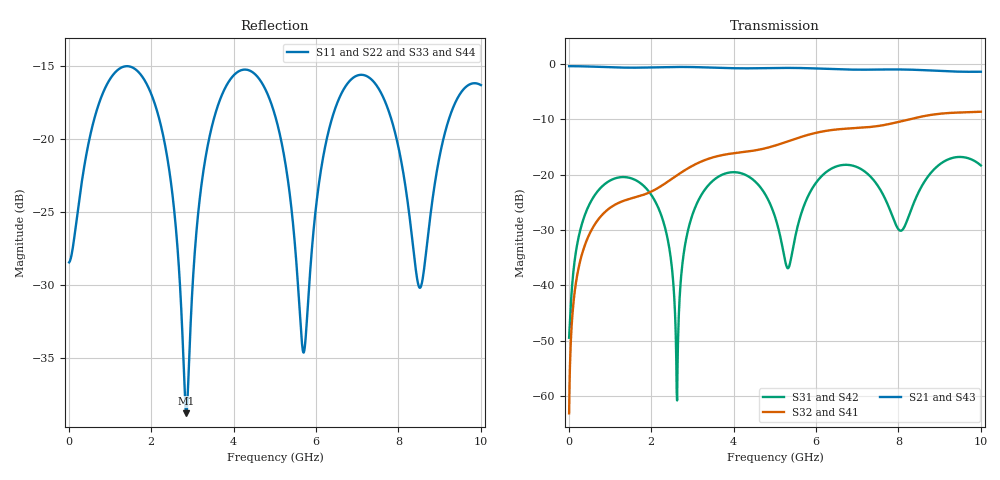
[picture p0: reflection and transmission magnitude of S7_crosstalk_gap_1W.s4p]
! kicad_em_sim: S-parameters of 4 ports, openEMS
# Hz S RI R 50
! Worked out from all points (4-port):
!   1000 points, 10 MHz to 10 GHz, reference 50 ohm
!   strongest paths, dB at 10 MHz, 2.51 GHz, 5.01 GHz, 7.51 GHz, 10 GHz:
!     S21: -0.4, -0.5, -0.7, -1.0, -1.4
!     S43: -0.4, -0.5, -0.7, -1.0, -1.4
!     S32: -63.1, -20.7, -14.7, -11.2, -8.6
!     S41: -63.1, -20.7, -14.7, -11.2, -8.6
!     S31: -49.5, -37.3, -27.7, -22.1, -18.3
!     S42: -49.5, -37.3, -27.7, -22.1, -18.3
!   lowest |S11| = -38.8 dB at 2.85 GHz (marker M1), VSWR 1.02, Z = 51.2 - j0.0592 ohm
!   |S11| at or under -10 dB: start of sweep to end of sweep
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1e7  -0.0378 0.0024  0.9593 -0.0111  0.00318 0.00111  0.000336 -0.000611
     0.9593 -0.0111  -0.0378 0.0024  0.000336 -0.000611  0.00318 0.00111
     0.00318 0.00111  0.000336 -0.000611  -0.0378 0.0024  0.9593 -0.0111
     0.000336 -0.000611  0.00318 0.00111  0.9593 -0.0111  -0.0378 0.0024
9e8  0.1081 0.1059  0.485 -0.8062  0.0746 0.0381  -0.0452 -0.0121
     0.485 -0.8062  0.1081 0.1059  -0.0452 -0.0121  0.0746 0.0381
     0.0746 0.0381  -0.0452 -0.0121  0.1081 0.1059  0.485 -0.8062
     -0.0452 -0.0121  0.0746 0.0381  0.485 -0.8062  0.1081 0.1059
2.62e9  0.0223 -0.0403  -0.9261 -0.1818  -0.000772 -0.000777  -0.0149 0.0973
        -0.9261 -0.1818  0.0223 -0.0403  -0.0149 0.0973  -0.000772 -0.000777
        -0.000772 -0.000777  -0.0149 0.0973  0.0223 -0.0403  -0.9261 -0.1818
        -0.0149 0.0973  -0.000772 -0.000777  -0.9261 -0.1818  0.0223 -0.0403
2.85e9  0.0115 -0.000578  -0.9412 0.0663  0.00544 0.0258  0.0113 0.1113
        -0.9412 0.0663  0.0115 -0.000578  0.0113 0.1113  0.00544 0.0258
        0.00544 0.0258  0.0113 0.1113  0.0115 -0.000578  -0.9412 0.0663
        0.0113 0.1113  0.00544 0.0258  -0.9412 0.0663  0.0115 -0.000578
5.44e9  0.0253 -0.0452  0.914 0.1426  -0.0125 0.0175  0.0291 -0.206
        0.914 0.1426  0.0253 -0.0452  0.0291 -0.206  -0.0125 0.0175
        -0.0125 0.0175  0.0291 -0.206  0.0253 -0.0452  0.914 0.1426
        0.0291 -0.206  -0.0125 0.0175  0.914 0.1426  0.0253 -0.0452
8.21e9  0.0359 -0.0518  -0.8814 -0.147  -0.0273 0.0272  -0.0506 0.3097
        -0.8814 -0.147  0.0359 -0.0518  -0.0506 0.3097  -0.0273 0.0272
        -0.0273 0.0272  -0.0506 0.3097  0.0359 -0.0518  -0.8814 -0.147
        -0.0506 0.3097  -0.0273 0.0272  -0.8814 -0.147  0.0359 -0.0518
1e10  0.1439 -0.0527  0.2342 0.8214  0.0746 -0.0959  0.3496 -0.1258
      0.2342 0.8214  0.1439 -0.0527  0.3496 -0.1258  0.0746 -0.0959
      0.0746 -0.0959  0.3496 -0.1258  0.1439 -0.0527  0.2342 0.8214
      0.3496 -0.1258  0.0746 -0.0959  0.2342 0.8214  0.1439 -0.0527
